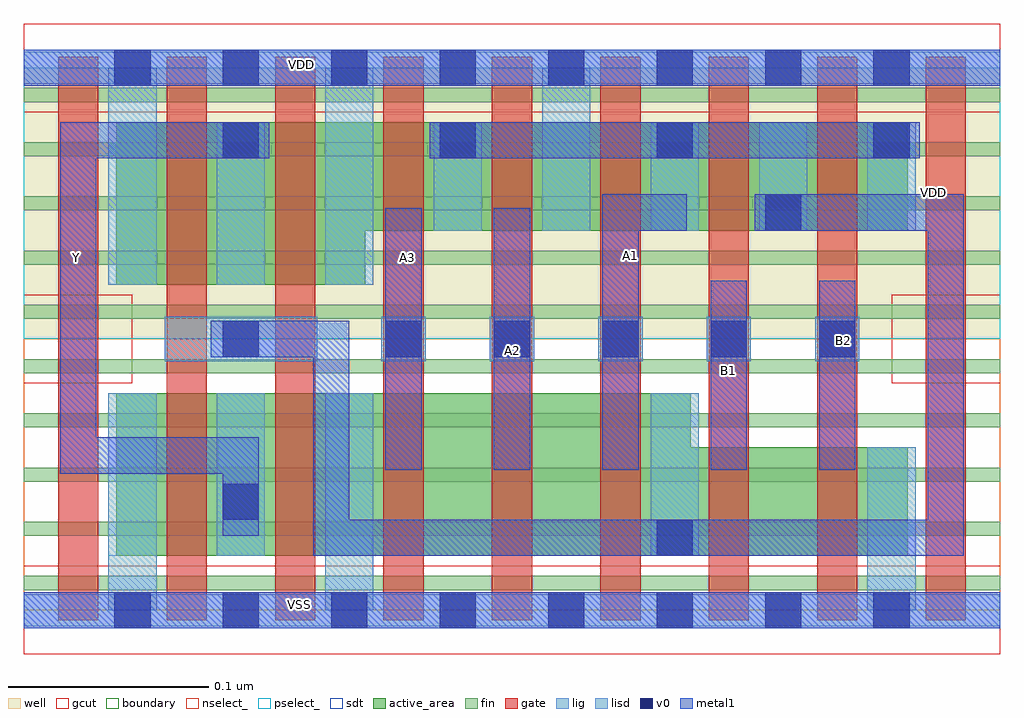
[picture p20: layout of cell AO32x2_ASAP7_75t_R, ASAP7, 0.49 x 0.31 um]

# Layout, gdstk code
import gdstk
lib = gdstk.Library(unit=1e-6, precision=2.5e-10)
def R(c, l, rs):  # rectangles x0, y0, x1, y1
    for r in rs: c.add(gdstk.rectangle(r[:2], r[2:], *l))
def A(c, l, x, y, w, h, nx, ny, dx, dy):  # array of equal rectangles
    R(c, l, [(x+i*dx, y+j*dy, x+i*dx+w, y+j*dy+h) for i in range(nx) for j in range(ny)])
def P(c, l, *ps):  # polygons
    for p in ps: c.add(gdstk.Polygon(p, *l))
well = (1, 0)
fin = (2, 0)
gate = (7, 0)
gcut = (10, 0)
active_area = (11, 0)
nselect_ = (12, 0)
pselect_ = (13, 0)
lig = (16, 0)
lisd = (17, 0)
v0 = (18, 0)
metal1 = (19, 0)
sdt = (88, 0)
boundary = (100, 0)

ao32x2_asap7_75t_r = lib.new_cell('AO32x2_ASAP7_75t_R')
R(ao32x2_asap7_75t_r, well, [(0,0.135,0.486,0.27)])
A(ao32x2_asap7_75t_r, fin, 0, 0.01, 0.486, 0.007, 1, 10, 0, 0.027)
A(ao32x2_asap7_75t_r, gate, 0.017, -0.005, 0.02, 0.2805, 9, 1, 0.054, 0)
R(ao32x2_asap7_75t_r, gcut, [(0,-0.022,0.486,0.022), (0,0.113,0.054,0.157), (0.432,0.113,0.486,0.157), (0,0.248,0.486,0.292)])
P(ao32x2_asap7_75t_r, active_area, [(0.44,0.081),(0.332,0.081),(0.332,0.108),(0.046,0.108),(0.046,0.027),(0.44,0.027)],
  [(0.44,0.243),(0.046,0.243),(0.046,0.162),(0.17,0.162),(0.17,0.189),(0.44,0.189)])
R(ao32x2_asap7_75t_r, nselect_, [(0,0,0.486,0.135)])
R(ao32x2_asap7_75t_r, pselect_, [(0,0.135,0.486,0.27)])
A(ao32x2_asap7_75t_r, lig, 0.178, 0.124, 0.022, 0.022, 5, 1, 0.054, 0)
R(ao32x2_asap7_75t_r, lig, [(0,-0.008,0.486,0.008), (0.07,0.124,0.146,0.146), (0,0.262,0.486,0.278)])
A(ao32x2_asap7_75t_r, lisd, 0.312, 0.189, 0.024, 0.054, 3, 1, 0.054, 0)
R(ao32x2_asap7_75t_r, lisd, [(0.042,0,0.066,0.108), (0.15,0,0.174,0.108), (0.42,0,0.444,0.081), (0.096,0.027,0.12,0.108), (0.312,0.027,0.336,0.108), (0.042,0.162,0.066,0.27), (0.096,0.162,0.12,0.243), (0.15,0.162,0.174,0.27), (0.204,0.189,0.228,0.243), (0.258,0.189,0.282,0.27)])
A(ao32x2_asap7_75t_r, v0, 0.045, -0.009, 0.018, 0.018, 8, 2, 0.054, 0.27)
A(ao32x2_asap7_75t_r, v0, 0.18, 0.126, 0.018, 0.018, 5, 1, 0.054, 0)
A(ao32x2_asap7_75t_r, v0, 0.099, 0.225, 0.018, 0.018, 4, 1, 0.108, 0)
R(ao32x2_asap7_75t_r, v0, [(0.315,0.027,0.333,0.045), (0.099,0.045,0.117,0.063), (0.099,0.126,0.117,0.144), (0.369,0.189,0.387,0.207)])
R(ao32x2_asap7_75t_r, metal1, [(0,-0.009,0.486,0.009), (0.18,0.07,0.198,0.2), (0.234,0.07,0.252,0.2), (0.342,0.07,0.36,0.164), (0.396,0.07,0.414,0.164), (0.202,0.225,0.446,0.243), (0,0.261,0.486,0.279)])
P(ao32x2_asap7_75t_r, metal1, [(0.468,0.207),(0.364,0.207),(0.364,0.189),(0.45,0.189),(0.45,0.045),(0.162,0.045),(0.162,0.144),(0.093,0.144),(0.093,0.126),(0.144,0.126),(0.144,0.027),(0.468,0.027)],
  [(0.33,0.207),(0.288,0.207),(0.288,0.07),(0.306,0.07),(0.306,0.189),(0.33,0.189)],
  [(0.122,0.243),(0.018,0.243),(0.018,0.068),(0.099,0.068),(0.099,0.037),(0.117,0.037),(0.117,0.086),(0.036,0.086),(0.036,0.225),(0.122,0.225)])
A(ao32x2_asap7_75t_r, sdt, 0.042, 0.027, 0.024, 0.081, 3, 2, 0.054, 0.135)
A(ao32x2_asap7_75t_r, sdt, 0.204, 0.189, 0.024, 0.054, 5, 1, 0.054, 0)
R(ao32x2_asap7_75t_r, sdt, [(0.312,0.027,0.336,0.108), (0.42,0.027,0.444,0.081)])
R(ao32x2_asap7_75t_r, boundary, [(0,0,0.486,0.27)])
ao32x2_asap7_75t_r.add(gdstk.Label('VSS', (0.522,0.207), layer=3, texttype=251))
ao32x2_asap7_75t_r.add(gdstk.Label('VDD', (0.453,0.208), layer=1, texttype=251))
ao32x2_asap7_75t_r.add(gdstk.Label('B2', (0.408,0.1345), layer=19, texttype=251))
ao32x2_asap7_75t_r.add(gdstk.Label('B1', (0.351,0.1195), layer=19, texttype=251))
ao32x2_asap7_75t_r.add(gdstk.Label('A3', (0.191,0.1755), layer=19, texttype=251))
ao32x2_asap7_75t_r.add(gdstk.Label('A2', (0.243,0.1295), layer=19, texttype=251))
ao32x2_asap7_75t_r.add(gdstk.Label('A1', (0.302,0.1765), layer=19, texttype=251))
ao32x2_asap7_75t_r.add(gdstk.Label('VSS', (0.137,0.003), layer=19, texttype=251))
ao32x2_asap7_75t_r.add(gdstk.Label('VDD', (0.138,0.2715), layer=19, texttype=251))
ao32x2_asap7_75t_r.add(gdstk.Label('Y', (0.026,0.1755), layer=19, texttype=251))

lib.write_gds('AO32x2_ASAP7_75t_R.gds')
